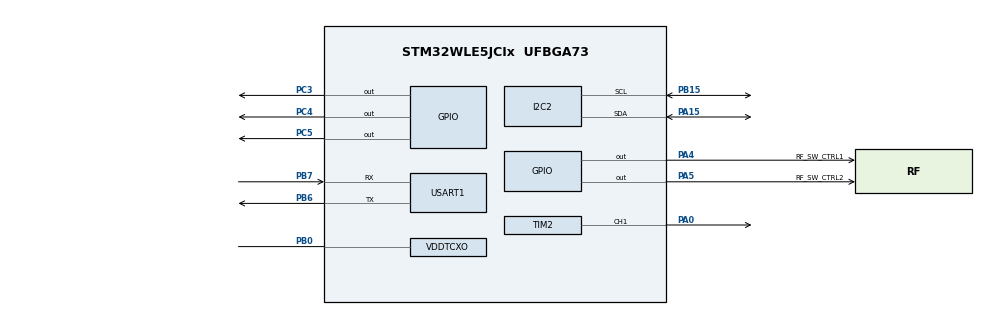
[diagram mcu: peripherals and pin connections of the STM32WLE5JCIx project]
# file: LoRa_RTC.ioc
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I2C2.Timing=0x10805D88
Mcu.Family=STM32WL
Mcu.Name=STM32WLE5JCIx
Mcu.Package=UFBGA73
NVIC.PriorityGroup=NVIC_PRIORITYGROUP_4
NVIC.SUBGHZ_Radio_IRQn=true\:0\:0\:false\:false\:true\:true\:true\:true
NVIC.TIM2_IRQn=true\:0\:0\:true\:false\:true\:true\:true\:true
NVIC.USART1_IRQn=true\:2\:0\:true\:false\:true\:true\:true\:true
OSC_IN.Mode=HSE-TCXO
OSC_IN.Signal=RCC_OSC_IN
PA0.Signal=S_TIM2_CH1
PA13.Mode=Serial_Wire
PA13.Signal=DEBUG_JTMS-SWDIO
PA14.Mode=Serial_Wire
PA14.Signal=DEBUG_JTCK-SWCLK
PA15.Mode=I2C
PA15.Signal=I2C2_SDA
PA4.GPIO_Label=RF_SW_CTRL1
PA4.Signal=GPIO_Output
PA5.GPIO_Label=RF_SW_CTRL2
PA5.Signal=GPIO_Output
PB0-VDD_TCXO.Mode=HSE-TCXO
PB0-VDD_TCXO.Signal=VDDTCXO
PB15.Mode=I2C
PB15.Signal=I2C2_SCL
PB6.Mode=Asynchronous
PB6.Signal=USART1_TX
PB7.Mode=Asynchronous
PB7.Signal=USART1_RX
PC14-OSC32_IN.Mode=LSE-External-Oscillator
PC14-OSC32_IN.Signal=RCC_OSC32_IN
PC15-OSC32_OUT.Mode=LSE-External-Oscillator
PC15-OSC32_OUT.Signal=RCC_OSC32_OUT
PC3.Signal=GPIO_Output
PC4.Signal=GPIO_Output
PC5.Signal=GPIO_Output
ProjectManager.HeapSize=0x200
ProjectManager.StackSize=0x400
ProjectManager.TargetToolchain=STM32CubeIDE
RCC.AHBFreq_Value=48000000
RCC.APB1Freq_Value=48000000
RCC.APB1TimFreq_Value=48000000
RCC.APB2Freq_Value=48000000
RCC.APB2TimFreq_Value=48000000
RCC.APB3Freq_Value=48000000
RCC.CortexFreq_Value=48000000
RCC.HCLKFreq_Value=48000000
RCC.HSE_VALUE=8000000
RCC.HSI_VALUE=16000000
RCC.LSE_VALUE=32768
RCC.MSIClockRange=RCC_MSIRANGE_11
RCC.PLLM=RCC_PLLM_DIV2
RCC.PLLN=18
RCC.PLLSourceVirtual=RCC_PLLSOURCE_HSI
RCC.RTCClockSelection=RCC_RTCCLKSOURCE_LSE
RCC.SYSCLKFreq_VALUE=48000000
RCC.VCOOutputFreq_Value=144000000
SH.S_TIM2_CH1.0=TIM2_CH1,Output Compare1 CH1
SUBGHZ.BaudratePrescaler=SUBGHZSPI_BAUDRATEPRESCALER_2
TIM2.AutoReloadPreload=TIM_AUTORELOAD_PRELOAD_ENABLE
TIM2.Channel-Output\ Compare1\ CH1=TIM_CHANNEL_1
TIM2.OC1Preload=DISABLE
TIM2.OCMode_1=TIM_OCMODE_TOGGLE
TIM2.Period=0xffffffff
TIM2.Prescaler=0
TIM2.Pulse-Output\ Compare1\ CH1=0
USART1.VirtualMode-Asynchronous=VM_ASYNC
VP_ADV_TRACE_VS_ADV_TRACE.Mode=ADV_TRACE_Enabled
VP_MISC_VS_MISC.Mode=MISC_Enabled
VP_RTC_VS_RTC_Activate.Mode=RTC_Enabled
VP_SEQUENCER_VS_SEQUENCER.Mode=SEQUENCER_Enabled
VP_SUBGHZ_PHY_VS_SubGhzPhy.Mode=SubGhzPhy_Enabled
VP_SUBGHZ_VS_SUBGHZ.Mode=SUBGHZ_Activate
VP_TIM2_VS_ClockSourceINT.Mode=Internal
VP_TIMER_VS_TIMER.Mode=TIMER_Enabled
VP_TINY_LPM_VS_TINY_LPM.Mode=TINY_LPM_Enabled
board=custom

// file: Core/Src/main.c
/* USER CODE BEGIN Header */
/**
 ******************************************************************************
 * @file           : main.c
 * @brief          : Main program body
 ******************************************************************************
 * @attention
 *
 * Copyright (c) 2025 STMicroelectronics.
 * All rights reserved.
 *
 * This software is licensed under terms that can be found in the LICENSE file
 * in the root directory of this software component.
 * If no LICENSE file comes with this software, it is provided AS-IS.
 *
 ******************************************************************************
 */
/* USER CODE END Header */
#include "main.h"
#include "app_subghz_phy.h"

/* USER CODE BEGIN Includes */
#include <stdio.h>
#include <inttypes.h>

#include "stm32wlxx_hal_uart.h"
#include "radio.h"
#include "subghz_phy_app.h"
#include "ssd1306.h"
#include "ssd1306_fonts.h"
#include "utils.h"
#include "time_format.h"
/* USER CODE END Includes */

/* USER CODE BEGIN PD */
#define INIT_PERIOD 	48000000

#define DEBUG_PRINT
/* USER CODE END PD */

I2C_HandleTypeDef hi2c2;

RTC_HandleTypeDef hrtc;

SUBGHZ_HandleTypeDef hsubghz;

TIM_HandleTypeDef htim2;

UART_HandleTypeDef huart1;

/* USER CODE BEGIN PV */
volatile uint32_t time_unform;
volatile uint16_t tmr_pers = 0;
volatile uint32_t timer16_periods = 0;
volatile uint8_t update_display_flag = 0;
volatile uint32_t sec_start = 0;
volatile uint8_t pulse_state = 0;
volatile uint32_t tim_per = INIT_PERIOD;
volatile uint32_t nom_per = INIT_PERIOD;
time_date_t td;
/* USER CODE END PV */

void SystemClock_Config(void);
static void MX_GPIO_Init(void);
static void MX_RTC_Init(void);
static void MX_USART1_UART_Init(void);
static void MX_TIM2_Init(void);
static void MX_I2C2_Init(void);
/* USER CODE BEGIN PFP */
int __io_putchar(int ch);
/* USER CODE END PFP */

/* USER CODE BEGIN 0 */

/**
 * @brief  printf() to UART
 */
int __io_putchar(int ch) {
	HAL_UART_Transmit(&huart1, (uint8_t*) &ch, 1, HAL_MAX_DELAY);
	return ch;
}
/* USER CODE END 0 */

int main(void)
{

  /* MCU Configuration--------------------------------------------------------*/

  /* Reset of all peripherals, Initializes the Flash interface and the Systick. */
  HAL_Init();

  /* Configure the system clock */
  SystemClock_Config();

  /* Initialize all configured peripherals */
  MX_GPIO_Init();
  MX_RTC_Init();
  MX_USART1_UART_Init();
  MX_TIM2_Init();
  MX_SubGHz_Phy_Init();
  MX_I2C2_Init();
  /* USER CODE BEGIN 2 */

	// SubghzApp_Init();
#ifdef DEBUG_PRINT
	printf("Radio initialized.\r\n");
#endif
	ssd1306_Init();
	ssd1306_Fill(Black);
	ssd1306_UpdateScreen();

	char text_buffer[20];

	sprintf(text_buffer, "LoRa RTC");
	ssd1306_SetCursor(2, 0);
	ssd1306_WriteString(text_buffer, Font_11x18, White);

	ssd1306_UpdateScreen();

	__HAL_TIM_SET_COMPARE(&htim2, TIM_CHANNEL_1, INIT_PERIOD);

  /* USER CODE END 2 */

  /* Infinite loop */
  /* USER CODE BEGIN WHILE */
	while (1) {
		if (update_display_flag) {
			update_display_flag = 0;

			format_time(time_unform, &td);
			format_date(time_unform, &td);

			// OLED
			char text_buffer[30];

			sprintf(text_buffer, "%02u:%02u:%02u\r\n", td.hours, td.minutes, td.seconds);
			ssd1306_SetCursor(2, 0);
			ssd1306_WriteString(text_buffer, Font_11x18, White);

			sprintf(text_buffer, "%s %u %u\r\n", td.month, td.day, td.year);
			ssd1306_SetCursor(2, 20);
			ssd1306_WriteString(text_buffer, Font_6x8, White);

			ssd1306_UpdateScreen();
		}
    /* USER CODE END WHILE */
    MX_SubGHz_Phy_Process();

	}
}

void SystemClock_Config(void)
{
  RCC_OscInitTypeDef RCC_OscInitStruct = {0};
  RCC_ClkInitTypeDef RCC_ClkInitStruct = {0};

  /** Configure LSE Drive Capability
  */
  HAL_PWR_EnableBkUpAccess();
  __HAL_RCC_LSEDRIVE_CONFIG(RCC_LSEDRIVE_LOW);

  /** Configure the main internal regulator output voltage
  */
  __HAL_PWR_VOLTAGESCALING_CONFIG(PWR_REGULATOR_VOLTAGE_SCALE1);

  /** Initializes the CPU, AHB and APB buses clocks
  */
  RCC_OscInitStruct.OscillatorType = RCC_OSCILLATORTYPE_LSE|RCC_OSCILLATORTYPE_MSI;
  RCC_OscInitStruct.LSEState = RCC_LSE_ON;
  RCC_OscInitStruct.MSIState = RCC_MSI_ON;
  RCC_OscInitStruct.MSICalibrationValue = RCC_MSICALIBRATION_DEFAULT;
  RCC_OscInitStruct.MSIClockRange = RCC_MSIRANGE_11;
  RCC_OscInitStruct.PLL.PLLState = RCC_PLL_NONE;
  if (HAL_RCC_OscConfig(&RCC_OscInitStruct) != HAL_OK)
  {
    Error_Handler();
  }

  /** Configure the SYSCLKSource, HCLK, PCLK1 and PCLK2 clocks dividers
  */
  RCC_ClkInitStruct.ClockType = RCC_CLOCKTYPE_HCLK3|RCC_CLOCKTYPE_HCLK
                              |RCC_CLOCKTYPE_SYSCLK|RCC_CLOCKTYPE_PCLK1
                              |RCC_CLOCKTYPE_PCLK2;
  RCC_ClkInitStruct.SYSCLKSource = RCC_SYSCLKSOURCE_MSI;
  RCC_ClkInitStruct.AHBCLKDivider = RCC_SYSCLK_DIV1;
  RCC_ClkInitStruct.APB1CLKDivider = RCC_HCLK_DIV1;
  RCC_ClkInitStruct.APB2CLKDivider = RCC_HCLK_DIV1;
  RCC_ClkInitStruct.AHBCLK3Divider = RCC_SYSCLK_DIV1;

  if (HAL_RCC_ClockConfig(&RCC_ClkInitStruct, FLASH_LATENCY_2) != HAL_OK)
  {
    Error_Handler();
  }
}

static void MX_I2C2_Init(void)
{

  hi2c2.Instance = I2C2;
  hi2c2.Init.Timing = 0x10805D88;
  hi2c2.Init.OwnAddress1 = 0;
  hi2c2.Init.AddressingMode = I2C_ADDRESSINGMODE_7BIT;
  hi2c2.Init.DualAddressMode = I2C_DUALADDRESS_DISABLE;
  hi2c2.Init.OwnAddress2 = 0;
  hi2c2.Init.OwnAddress2Masks = I2C_OA2_NOMASK;
  hi2c2.Init.GeneralCallMode = I2C_GENERALCALL_DISABLE;
  hi2c2.Init.NoStretchMode = I2C_NOSTRETCH_DISABLE;
  if (HAL_I2C_Init(&hi2c2) != HAL_OK)
  {
    Error_Handler();
  }

  /** Configure Analogue filter
  */
  if (HAL_I2CEx_ConfigAnalogFilter(&hi2c2, I2C_ANALOGFILTER_ENABLE) != HAL_OK)
  {
    Error_Handler();
  }

  /** Configure Digital filter
  */
  if (HAL_I2CEx_ConfigDigitalFilter(&hi2c2, 0) != HAL_OK)
  {
    Error_Handler();
  }

}

static void MX_RTC_Init(void)
{

  /** Initialize RTC Only
  */
  hrtc.Instance = RTC;
  hrtc.Init.HourFormat = RTC_HOURFORMAT_24;
  hrtc.Init.AsynchPrediv = 127;
  hrtc.Init.SynchPrediv = 255;
  hrtc.Init.OutPut = RTC_OUTPUT_DISABLE;
  hrtc.Init.OutPutRemap = RTC_OUTPUT_REMAP_NONE;
  hrtc.Init.OutPutPolarity = RTC_OUTPUT_POLARITY_HIGH;
  hrtc.Init.OutPutType = RTC_OUTPUT_TYPE_OPENDRAIN;
  hrtc.Init.OutPutPullUp = RTC_OUTPUT_PULLUP_NONE;
  hrtc.Init.BinMode = RTC_BINARY_NONE;
  if (HAL_RTC_Init(&hrtc) != HAL_OK)
  {
    Error_Handler();
  }

}

void MX_SUBGHZ_Init(void)
{

  hsubghz.Init.BaudratePrescaler = SUBGHZSPI_BAUDRATEPRESCALER_2;
  if (HAL_SUBGHZ_Init(&hsubghz) != HAL_OK)
  {
    Error_Handler();
  }

}

static void MX_TIM2_Init(void)
{

  TIM_ClockConfigTypeDef sClockSourceConfig = {0};
  TIM_MasterConfigTypeDef sMasterConfig = {0};
  TIM_OC_InitTypeDef sConfigOC = {0};

  htim2.Instance = TIM2;
  htim2.Init.Prescaler = 0;
  htim2.Init.CounterMode = TIM_COUNTERMODE_UP;
  htim2.Init.Period = 0xffffffff;
  htim2.Init.ClockDivision = TIM_CLOCKDIVISION_DIV1;
  htim2.Init.AutoReloadPreload = TIM_AUTORELOAD_PRELOAD_ENABLE;
  if (HAL_TIM_Base_Init(&htim2) != HAL_OK)
  {
    Error_Handler();
  }
  sClockSourceConfig.ClockSource = TIM_CLOCKSOURCE_INTERNAL;
  if (HAL_TIM_ConfigClockSource(&htim2, &sClockSourceConfig) != HAL_OK)
  {
    Error_Handler();
  }
  if (HAL_TIM_OC_Init(&htim2) != HAL_OK)
  {
    Error_Handler();
  }
  sMasterConfig.MasterOutputTrigger = TIM_TRGO_RESET;
  sMasterConfig.MasterSlaveMode = TIM_MASTERSLAVEMODE_DISABLE;
  if (HAL_TIMEx_MasterConfigSynchronization(&htim2, &sMasterConfig) != HAL_OK)
  {
    Error_Handler();
  }
  sConfigOC.OCMode = TIM_OCMODE_TOGGLE;
  sConfigOC.Pulse = 0;
  sConfigOC.OCPolarity = TIM_OCPOLARITY_HIGH;
  sConfigOC.OCFastMode = TIM_OCFAST_DISABLE;
  if (HAL_TIM_OC_ConfigChannel(&htim2, &sConfigOC, TIM_CHANNEL_1) != HAL_OK)
  {
    Error_Handler();
  }
  HAL_TIM_MspPostInit(&htim2);

}

static void MX_USART1_UART_Init(void)
{

  huart1.Instance = USART1;
  huart1.Init.BaudRate = 115200;
  huart1.Init.WordLength = UART_WORDLENGTH_8B;
  huart1.Init.StopBits = UART_STOPBITS_1;
  huart1.Init.Parity = UART_PARITY_NONE;
  huart1.Init.Mode = UART_MODE_TX_RX;
  huart1.Init.HwFlowCtl = UART_HWCONTROL_NONE;
  huart1.Init.OverSampling = UART_OVERSAMPLING_16;
  huart1.Init.OneBitSampling = UART_ONE_BIT_SAMPLE_DISABLE;
  huart1.Init.ClockPrescaler = UART_PRESCALER_DIV1;
  huart1.AdvancedInit.AdvFeatureInit = UART_ADVFEATURE_NO_INIT;
  if (HAL_UART_Init(&huart1) != HAL_OK)
  {
    Error_Handler();
  }
  if (HAL_UARTEx_SetTxFifoThreshold(&huart1, UART_TXFIFO_THRESHOLD_1_8) != HAL_OK)
  {
    Error_Handler();
  }
  if (HAL_UARTEx_SetRxFifoThreshold(&huart1, UART_RXFIFO_THRESHOLD_1_8) != HAL_OK)
  {
    Error_Handler();
  }
  if (HAL_UARTEx_DisableFifoMode(&huart1) != HAL_OK)
  {
    Error_Handler();
  }

}

static void MX_GPIO_Init(void)
{
  GPIO_InitTypeDef GPIO_InitStruct = {0};

  /* GPIO Ports Clock Enable */
  __HAL_RCC_GPIOA_CLK_ENABLE();
  __HAL_RCC_GPIOB_CLK_ENABLE();
  __HAL_RCC_GPIOC_CLK_ENABLE();

  /*Configure GPIO pin Output Level */
  HAL_GPIO_WritePin(GPIOC, GPIO_PIN_3|GPIO_PIN_5|GPIO_PIN_4, GPIO_PIN_RESET);

  /*Configure GPIO pin Output Level */
  HAL_GPIO_WritePin(GPIOA, RF_SW_CTRL1_Pin|RF_SW_CTRL2_Pin, GPIO_PIN_RESET);

  /*Configure GPIO pins : PC3 PC5 PC4 */
  GPIO_InitStruct.Pin = GPIO_PIN_3|GPIO_PIN_5|GPIO_PIN_4;
  GPIO_InitStruct.Mode = GPIO_MODE_OUTPUT_PP;
  GPIO_InitStruct.Pull = GPIO_NOPULL;
  GPIO_InitStruct.Speed = GPIO_SPEED_FREQ_LOW;
  HAL_GPIO_Init(GPIOC, &GPIO_InitStruct);

  /*Configure GPIO pins : RF_SW_CTRL1_Pin RF_SW_CTRL2_Pin */
  GPIO_InitStruct.Pin = RF_SW_CTRL1_Pin|RF_SW_CTRL2_Pin;
  GPIO_InitStruct.Mode = GPIO_MODE_OUTPUT_PP;
  GPIO_InitStruct.Pull = GPIO_NOPULL;
  GPIO_InitStruct.Speed = GPIO_SPEED_FREQ_LOW;
  HAL_GPIO_Init(GPIOA, &GPIO_InitStruct);

  /* USER CODE BEGIN MX_GPIO_Init_2 */

	HAL_GPIO_WritePin(GPIOA, RF_SW_CTRL1_Pin, GPIO_PIN_SET);
	HAL_GPIO_WritePin(GPIOA, RF_SW_CTRL2_Pin, GPIO_PIN_RESET);

  /* USER CODE END MX_GPIO_Init_2 */
}

/* USER CODE BEGIN 4 */
// TIM2 Callback
void HAL_TIM_OC_DelayElapsedCallback(TIM_HandleTypeDef *htim) {
	if (htim->Instance == TIM2) {
		uint32_t curr_ccr = HAL_TIM_ReadCapturedValue(htim, TIM_CHANNEL_1);

	    if (pulse_state == 0) {
	        pulse_state = 1;
	        sec_start = curr_ccr;

	        uint32_t next_compare = curr_ccr + (tim_per / 10U);
	        __HAL_TIM_SET_COMPARE(htim, TIM_CHANNEL_1, next_compare);

	        update_display_flag = 1;
	        time_unform ++;
	    }
	    else if (pulse_state == 1) {
	        pulse_state = 0;
	        __HAL_TIM_SET_COMPARE(htim, TIM_CHANNEL_1, sec_start + tim_per);
	    }
	}
}
/* USER CODE END 4 */

void Error_Handler(void)
{
  /* USER CODE BEGIN Error_Handler_Debug */
	printf("Error_Handler triggered!");
	__disable_irq();
	while (1) {
	}
  /* USER CODE END Error_Handler_Debug */
}
